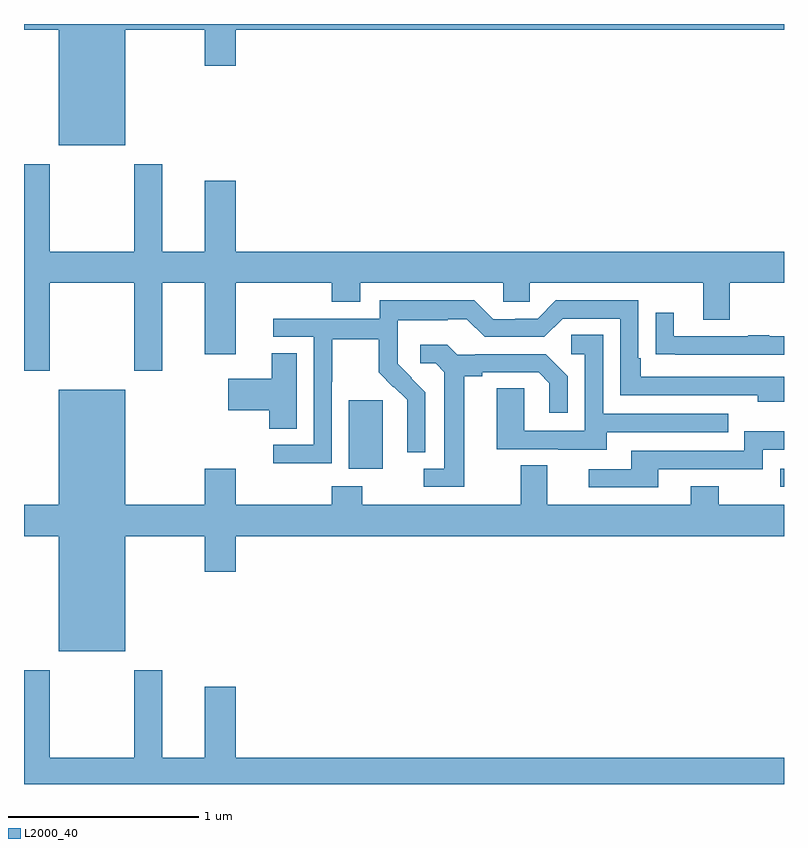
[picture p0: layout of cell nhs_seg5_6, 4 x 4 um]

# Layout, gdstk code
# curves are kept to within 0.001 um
import gdstk
lib = gdstk.Library(unit=1e-6, precision=1e-09)
def R(c, l, rs):  # rectangles x0, y0, x1, y1
    for r in rs: c.add(gdstk.rectangle(r[:2], r[2:], *l))
def P(c, l, *ps):  # polygons
    for p in ps: c.add(gdstk.Polygon(p, *l))
L2000_40 = (2000, 40)

nhs_seg5_6 = lib.new_cell('nhs_seg5_6')
R(nhs_seg5_6, L2000_40, [(114.981,846.363,115,846.459), (112.709,846.458,112.888,846.819)])
P(nhs_seg5_6, L2000_40, [(111.532,848.768),(111.95,848.768),(111.95,848.58),(112.114,848.58),(112.114,848.768),(115,848.768),(115,848.799),(111,848.799),(111,848.768),(111.182,848.768),(111.182,848.162),(111.532,848.162)],
  [(111.135,847.436),(111.58,847.436),(111.58,846.975),(111.727,846.975),(111.727,847.436),(111.95,847.436),(111.95,847.062),(112.114,847.062),(112.114,847.436),(112.619,847.436),(112.619,847.337),(112.771,847.337),(112.771,847.436),(113.523,847.436),(113.523,847.338),(113.661,847.338),(113.661,847.436),(114.575,847.436),(114.575,847.242),(114.715,847.242),(114.715,847.436),(115,847.436),(115,847.6),(112.114,847.6),(112.114,847.975),(111.95,847.975),(111.95,847.6),(111.727,847.6),(111.727,848.062),(111.58,848.062),(111.58,847.6),(111.135,847.6),(111.135,848.062),(111,848.062),(111,846.975),(111.135,846.975)],
  [(112.62,846.916),(112.623,846.916),(112.623,847.14),(112.867,847.14),(112.867,846.965),(112.944,846.888),(112.947,846.891),(113.018,846.821),(113.018,846.698),(113.016,846.698),(113.016,846.544),(113.112,846.544),(113.112,846.862),(112.966,847.01),(112.966,847.107),(112.968,847.107),(112.968,847.241),(113.231,847.241),(113.231,847.245),(113.331,847.245),(113.424,847.152),(113.739,847.152),(113.835,847.248),(114.138,847.248),(114.138,846.846),(114.863,846.846),(114.863,846.812),(115,846.812),(115,846.942),(114.247,846.942),(114.247,847.039),(114.234,847.039),(114.234,847.344),(113.799,847.344),(113.703,847.248),(113.585,847.248),(113.585,847.245),(113.469,847.245),(113.369,847.345),(112.872,847.345),(112.872,847.248),(112.311,847.248),(112.311,847.152),(112.524,847.152),(112.524,846.585),(112.311,846.585),(112.311,846.487),(112.62,846.487)],
  [(115,847.155),(114.923,847.155),(114.923,847.16),(114.811,847.16),(114.811,847.155),(114.421,847.155),(114.421,847.279),(114.325,847.279),(114.325,847.06),(114.427,847.06),(114.427,847.059),(115,847.059)],
  [(114.067,846.651),(114.707,846.651),(114.707,846.747),(114.048,846.747),(114.048,847.163),(113.88,847.163),(113.88,847.062),(113.952,847.062),(113.952,846.657),(113.634,846.657),(113.634,846.881),(113.489,846.881),(113.489,846.561),(113.813,846.561),(113.813,846.557),(114.067,846.557)],
  [(113.317,846.944),(113.413,846.944),(113.413,846.966),(113.708,846.966),(113.765,846.909),(113.765,846.753),(113.862,846.753),(113.862,846.946),(113.746,847.062),(113.374,847.062),(113.374,847.059),(113.28,847.059),(113.228,847.111),(113.085,847.111),(113.085,847.014),(113.166,847.014),(113.213,846.967),(113.213,846.459),(113.103,846.459),(113.103,846.363),(113.317,846.363)],
  [(112.435,847.067),(112.304,847.067),(112.304,846.931),(112.074,846.931),(112.074,846.766),(112.292,846.766),(112.292,846.67),(112.435,846.67)],
  [(111.532,846.104),(111.95,846.104),(111.95,845.916),(112.114,845.916),(112.114,846.104),(115,846.104),(115,846.268),(114.657,846.268),(114.657,846.367),(114.509,846.367),(114.509,846.268),(113.755,846.268),(113.755,846.476),(113.615,846.476),(113.615,846.268),(112.779,846.268),(112.779,846.367),(112.619,846.367),(112.619,846.268),(112.114,846.268),(112.114,846.457),(111.95,846.457),(111.95,846.268),(111.532,846.268),(111.532,846.874),(111.182,846.874),(111.182,846.268),(111,846.268),(111,846.104),(111.182,846.104),(111.182,845.498),(111.532,845.498)],
  [(114.337,846.456),(114.888,846.456),(114.888,846.558),(115,846.558),(115,846.655),(114.792,846.655),(114.792,846.552),(114.197,846.552),(114.197,846.456),(113.973,846.456),(113.973,846.36),(114.337,846.36)],
  [(115,844.936),(112.114,844.936),(112.114,845.311),(111.95,845.311),(111.95,844.936),(111.727,844.936),(111.727,845.398),(111.58,845.398),(111.58,844.936),(111.135,844.936),(111.135,845.398),(111,845.398),(111,844.799),(115,844.799)])

lib.write_gds('nhs_seg5_6.gds')
